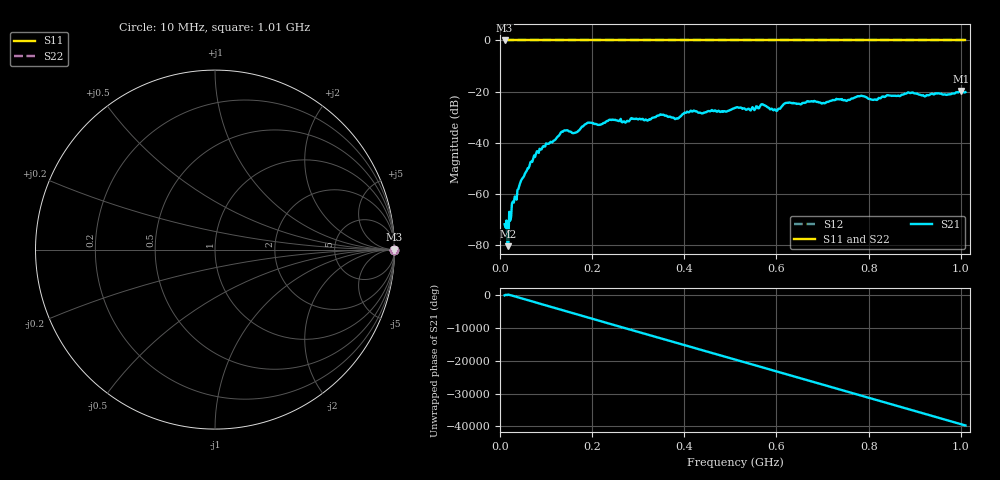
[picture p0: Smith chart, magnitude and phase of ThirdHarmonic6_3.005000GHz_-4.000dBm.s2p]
! 8/17/2025 8:36:09 AM
! C:\ANRITSUVNA\TEMP\TEMP.S2P
! CHANNEL.1
! TR.MEASUREMENT
! RAW.DATA
! RF.CORRECTION.OFF
! AVERAGING.OFF
! IF.BANDWIDTH: 5KHZ
! SWEEPTYPE:  FREQ.SWEEP(Linear)
! Reference Plane Port Info
! PORT:  PORT1  PORT2
! DISTANCE:  0  m  0  m
! TIME:  0  s  0  s
! PHASE.OFFSET:  0  deg.  0  deg.
! LOSS:  0  dB  0  dB
! REF.LOSS:  0  dB  0  dB
! REF.FREQ:  0  Hz  0  Hz
! Power Info
! POWER:  -20  dBm  -20  dBm
! EFF.POWER:  -20  dBm  -20  dBm
! SOURCE.ATTEN:  0  dB  0  dB
! TEST.ATTEN:  0  dB  0  dB
# GHZ S RI R 50.0
! FREQ.GHZ  S11RE  S11IM  S21RE  S21IM  S12RE  S12IM  S22RE  S22IM
!; PortSelection: Port_12
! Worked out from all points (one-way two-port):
!   501 points, 10 MHz to 1.01 GHz, reference 50 ohm
!   highest |S21| = -19.72 dB at 1 GHz (marker M1); lowest = -80.4 dB at 18 MHz (marker M2)
!   lowest |S11| = 0.0 dB at 10 MHz (marker M3)
!   |S11| at or under -10 dB: nowhere
!   |S22| runs from 0.0 to 0.0 dB; largest |S21 - S12| = 1.1
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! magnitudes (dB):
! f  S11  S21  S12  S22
! 10 MHz  0.0  -71.8  0.0  0.0
! 14 MHz  0.0  -70.4  0.0  0.0
! 18 MHz  0.0  -80.4  0.0  0.0
! 20 MHz  0.0  -66.9  0.0  0.0
! 24 MHz  0.0  -69.1  0.0  0.0
! 30 MHz  0.0  -63.3  0.0  0.0
! 46 MHz  0.0  -54.6  0.0  0.0
! 78 MHz  0.0  -44.3  0.0  0.0
! 136 MHz  0.0  -35.7  0.0  0.0
! 162 MHz  0.0  -36.1  0.0  0.0
! 178 MHz  0.0  -33.7  0.0  0.0
! 344 MHz  0.0  -29.3  0.0  0.0
! 384 MHz  0.0  -30.4  0.0  0.0
! 416 MHz  0.0  -27.7  0.0  0.0
! 510 MHz  0.0  -26.4  0.0  0.0
! 570 MHz  0.0  -25.0  0.0  0.0
! 598 MHz  0.0  -27.1  0.0  0.0
! 622 MHz  0.0  -24.4  0.0  0.0
! 678 MHz  0.0  -23.8  0.0  0.0
! 844 MHz  0.0  -21.5  0.0  0.0
! 1 GHz  0.0  -19.7  0.0  0.0
! 1.01 GHz  0.0  -20.2  0.0  0.0
